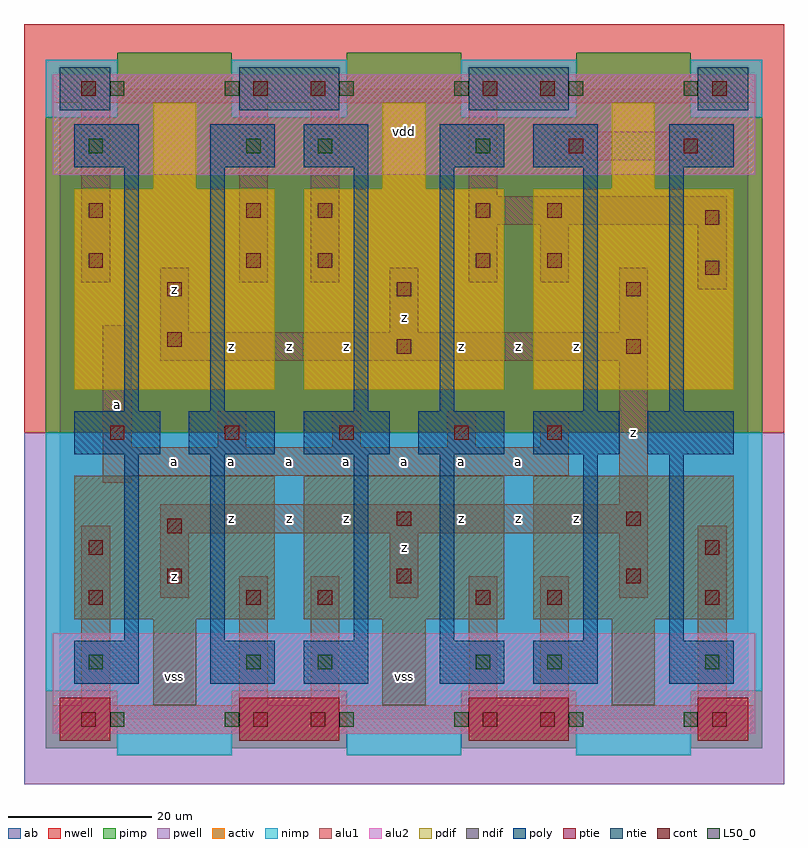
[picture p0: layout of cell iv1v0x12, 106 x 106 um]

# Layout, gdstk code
import gdstk
lib = gdstk.Library(unit=1e-6, precision=1e-09)
def R(c, l, rs):  # rectangles x0, y0, x1, y1
    for r in rs: c.add(gdstk.rectangle(r[:2], r[2:], *l))
def A(c, l, x, y, w, h, nx, ny, dx, dy):  # array of equal rectangles
    R(c, l, [(x+i*dx, y+j*dy, x+i*dx+w, y+j*dy+h) for i in range(nx) for j in range(ny)])
ndif = (3, 0)
pdif = (4, 0)
ntie = (5, 0)
ptie = (6, 0)
cont = (25, 0)
pwell = (41, 0)
nwell = (42, 0)
activ = (43, 0)
pimp = (44, 0)
nimp = (45, 0)
poly = (46, 0)
alu1 = (49, 0)
L50_0 = (50, 0)
alu2 = (51, 0)
ab = (63, 0)

iv1v0x12 = lib.new_cell('iv1v0x12')
A(iv1v0x12, ndif, 13, 2, 6, 12, 3, 1, 32, 0)
A(iv1v0x12, ndif, 2, 14, 28, 20, 3, 1, 32, 0)
A(iv1v0x12, pdif, 2, 46, 28, 28, 3, 1, 32, 0)
A(iv1v0x12, pdif, 13, 74, 6, 12, 3, 1, 32, 0)
R(iv1v0x12, ntie, [(0,85,7,91), (25,85,39,91), (57,85,71,91), (89,85,96,91)])
R(iv1v0x12, ptie, [(0,-3,7,3), (25,-3,39,3), (57,-3,71,3), (89,-3,96,3)])
A(iv1v0x12, cont, 15, 19, 2, 2, 3, 2, 32, 40)
A(iv1v0x12, cont, 7, 39, 2, 2, 4, 1, 16, 0)
R(iv1v0x12, cont, [(3,-1,5,1), (27,-1,29,1), (35,-1,37,1), (59,-1,61,1), (67,-1,69,1), (91,-1,93,1), (4,16,6,18), (26,16,28,18), (36,16,38,18), (58,16,60,18), (68,16,70,18), (90,16,92,18), (4,23,6,25), (90,23,92,25), (15,26,17,28), (47,27,49,29), (79,27,81,29), (68,39,70,41), (47,51,49,53), (79,51,81,53), (15,52,17,54), (90,62,92,64), (4,63,6,65), (26,63,28,65), (36,63,38,65), (58,63,60,65), (68,63,70,65), (90,69,92,71), (4,70,6,72), (26,70,28,72), (36,70,38,72), (58,70,60,72), (68,70,70,72), (71,79,73,81), (87,79,89,81), (3,87,5,89), (27,87,29,89), (35,87,37,89), (59,87,61,89), (67,87,69,89), (91,87,93,89)])
R(iv1v0x12, pwell, [(-5,-9,101,40)])
R(iv1v0x12, nwell, [(-5,40,101,97)])
A(iv1v0x12, activ, 13, 2, 6, 12, 3, 2, 32, 72)
A(iv1v0x12, activ, 2, 14, 28, 20, 3, 1, 32, 0)
A(iv1v0x12, activ, 2, 46, 28, 28, 3, 1, 32, 0)
R(iv1v0x12, activ, [(0,-3,7,3), (25,-3,39,3), (57,-3,71,3), (89,-3,96,3), (0,85,7,91), (25,85,39,91), (57,85,71,91), (89,85,96,91)])
A(iv1v0x12, pimp, 8, 84, 16, 9, 3, 1, 32, 0)
R(iv1v0x12, pimp, [(-2,-4,8,4), (24,-4,40,4), (56,-4,72,4), (88,-4,98,4), (-2,40,98,84)])
A(iv1v0x12, nimp, 8, -5, 16, 9, 3, 1, 32, 0)
R(iv1v0x12, nimp, [(-2,4,98,40), (-2,84,8,92), (24,84,40,92), (56,84,72,92), (88,84,98,92)])
A(iv1v0x12, poly, 2, 37, 12, 6, 6, 1, 16, 0)
R(iv1v0x12, poly, [(2,5,11,11), (21,5,30,11), (34,5,43,11), (53,5,62,11), (66,5,75,11), (85,5,94,11), (9,11,11,37), (21,11,23,37), (41,11,43,37), (53,11,55,37), (73,11,75,37), (85,11,87,37), (9,43,11,77), (21,43,23,77), (41,43,43,77), (53,43,55,77), (73,43,75,77), (85,43,87,77), (2,77,11,83), (21,77,30,83), (34,77,43,83), (53,77,62,83), (66,77,75,83), (85,77,94,83)])
A(iv1v0x12, alu1, 14, 17, 4, 9, 3, 2, 32, 37)
A(iv1v0x12, alu1, 22, 38, 4, 5, 3, 1, 16, 0)
R(iv1v0x12, alu1, [(-1,-2,97,2), (3,2,7,27), (25,2,29,20), (35,2,39,20), (57,2,61,20), (67,2,71,20), (89,2,93,27), (14,26,82,30), (78,30,82,50), (6,33,10,34), (6,34,71,38), (6,38,10,55), (67,38,71,43), (14,50,82,54), (89,60,93,69), (3,61,7,86), (25,61,29,86), (35,61,39,86), (57,61,61,69), (67,61,71,69), (57,69,93,73), (57,73,61,86), (69,78,91,82), (-1,86,97,90)])
A(iv1v0x12, L50_0, 7, -1, 2, 2, 6, 2, 16, 88)
R(iv1v0x12, L50_0, [(4,7,6,9), (26,7,28,9), (36,7,38,9), (58,7,60,9), (68,7,70,9), (90,7,92,9), (4,79,6,81), (26,79,28,81), (36,79,38,81), (58,79,60,81)])
R(iv1v0x12, alu2, [(-1,-2,97,12), (-1,76,97,90)])
R(iv1v0x12, ab, [(0,0,96,88)])
iv1v0x12.add(gdstk.Label('a', (8,44), layer=49, texttype=0))
iv1v0x12.add(gdstk.Label('z', (16,20), layer=49, texttype=0))
iv1v0x12.add(gdstk.Label('z', (24,28), layer=49, texttype=0))
iv1v0x12.add(gdstk.Label('z', (32,28), layer=49, texttype=0))
iv1v0x12.add(gdstk.Label('a', (24,36), layer=49, texttype=0))
iv1v0x12.add(gdstk.Label('a', (32,36), layer=49, texttype=0))
iv1v0x12.add(gdstk.Label('a', (16,36), layer=49, texttype=0))
iv1v0x12.add(gdstk.Label('z', (24,52), layer=49, texttype=0))
iv1v0x12.add(gdstk.Label('z', (32,52), layer=49, texttype=0))
iv1v0x12.add(gdstk.Label('z', (16,60), layer=49, texttype=0))
iv1v0x12.add(gdstk.Label('z', (40,28), layer=49, texttype=0))
iv1v0x12.add(gdstk.Label('z', (56,28), layer=49, texttype=0))
iv1v0x12.add(gdstk.Label('z', (48,24), layer=49, texttype=0))
iv1v0x12.add(gdstk.Label('a', (48,36), layer=49, texttype=0))
iv1v0x12.add(gdstk.Label('a', (56,36), layer=49, texttype=0))
iv1v0x12.add(gdstk.Label('a', (40,36), layer=49, texttype=0))
iv1v0x12.add(gdstk.Label('z', (56,52), layer=49, texttype=0))
iv1v0x12.add(gdstk.Label('z', (48,56), layer=49, texttype=0))
iv1v0x12.add(gdstk.Label('z', (40,52), layer=49, texttype=0))
iv1v0x12.add(gdstk.Label('z', (64,28), layer=49, texttype=0))
iv1v0x12.add(gdstk.Label('z', (72,28), layer=49, texttype=0))
iv1v0x12.add(gdstk.Label('a', (64,36), layer=49, texttype=0))
iv1v0x12.add(gdstk.Label('z', (64,52), layer=49, texttype=0))
iv1v0x12.add(gdstk.Label('z', (72,52), layer=49, texttype=0))
iv1v0x12.add(gdstk.Label('z', (80,40), layer=49, texttype=0))
iv1v0x12.add(gdstk.Label('vss', (16,6), layer=51, texttype=0))
iv1v0x12.add(gdstk.Label('vss', (48,6), layer=51, texttype=0))
iv1v0x12.add(gdstk.Label('vdd', (48,82), layer=51, texttype=0))

lib.write_gds('iv1v0x12.gds')
